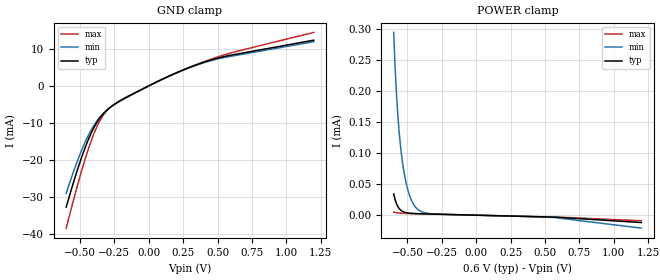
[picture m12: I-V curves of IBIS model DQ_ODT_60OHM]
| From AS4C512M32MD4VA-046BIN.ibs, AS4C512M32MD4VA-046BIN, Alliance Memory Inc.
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|   MODEL: DQ_ODT_60OHM
[Model]   DQ_ODT_60OHM
Model_type   Input
Vinl   = 0.080V
Vinh   = 0.220V
|   typ   min   max
C_comp   0.875pF   0.788pF   0.963pF
[Voltage Range]   0.600V   0.570V   0.650V
[Temperature Range]   25.0   85.0   -40.0
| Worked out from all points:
|   GND clamp passes 1 mA (typ) near -0.05 V on its own axis
[GND Clamp]
|   Voltage   I(typ)   I(min)   I(max)
-600mV    -32.82mA   -29.1mA    -38.51mA
-540mV    -25.28mA   -22.5mA    -29.95mA
-490mV    -19.56mA   -17.62mA   -23.26mA
-410mV    -12.13mA   -11.4mA    -14.03mA
-370mV    -9.479mA   -9.156mA   -10.5mA
-340mV    -7.967mA   -7.822mA   -8.456mA
-270mV    -5.552mA   -5.548mA   -5.486mA
-180mV    -3.48mA    -3.475mA   -3.381mA
80mV      1.477mA    1.46mA     1.454mA
390mV     6.272mA    6.144mA    6.396mA
580mV     8.186mA    7.891mA    8.746mA
1.2V      12.38mA    11.97mA    14.49mA
[POWER Clamp]
|   Voltage   I(typ)   I(min)   I(max)
-600mV    34.27uA    294.1uA    5.169uA
-590mV    25uA       238.9uA    4.47uA
-570mV    13.84uA    160.6uA    3.674uA
-560mV    10.58uA    132.6uA    3.444uA
-540mV    6.655uA    91.24uA    3.146uA
-520mV    4.678uA    62.84uA    2.957uA
-490mV    3.339uA    35.2uA     2.748uA
-460mV    2.772uA    19.1uA     2.569uA
-420mV    2.39uA     8.47uA     2.342uA
-300mV    1.671uA    1.938uA    1.671uA
560mV     -3.13uA    -3.595uA   -3.086uA
1.2V      -11.8uA    -20.82uA   -8.926uA
